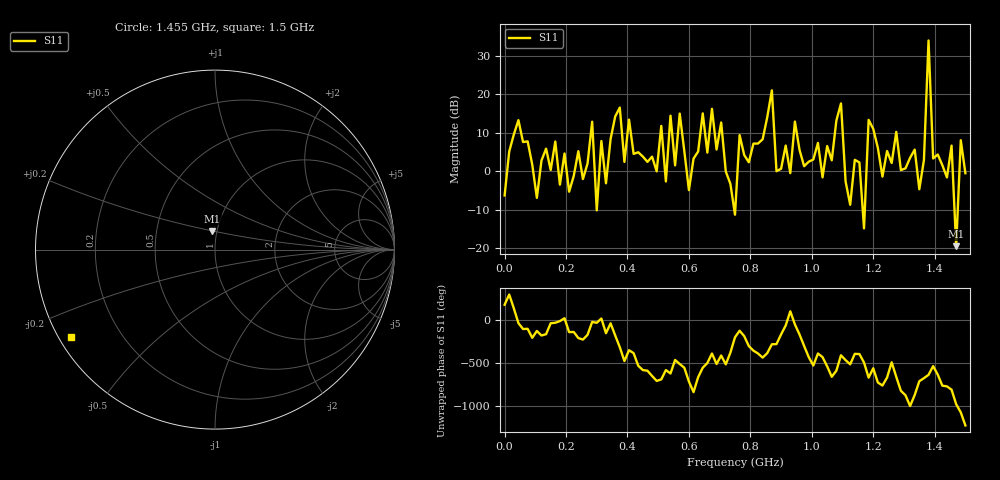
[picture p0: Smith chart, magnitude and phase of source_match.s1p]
! Created with skrf 1.8.0 (http://scikit-rf.org).
# Hz S RI R 50.0
!freq ReS11 ImS11
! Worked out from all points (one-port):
!   101 points, 50 kHz to 1.5 GHz, reference 50 ohm
!   lowest |S11| = -19.5 dB at 1.47 GHz (marker M1), VSWR 1.24, Z = 47.6 + j10 ohm
!   |S11| at or under -10 dB: 299.905 MHz to 300.2126 MHz (307.6 kHz wide, 0.103 % of centre); 747.5247 MHz to 750.9933 MHz (3.469 MHz wide, 0.463 % of centre); 1.166 GHz to 1.173 GHz (6.885 MHz wide, 0.589 % of centre) (the widest 3 of 4)
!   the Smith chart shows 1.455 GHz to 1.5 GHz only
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50000  -0.4797 0.0521
1.950435e8  1.626 0.4937
3.450385e8  1.942 -1.769
3.60038e8  -5.147 0.2921
3.750375e8  5.135 4.375
3.90037e8  -0.6782 -1.134
4.050365e8  4.675 0.4504
4.350355e8  -1.757 -0.1539
5.40032e8  -0.4333 5.268
5.70031e8  -5.094 -2.396
6.30029e8  1.107 1.423
6.450285e8  -5.387 1.749
6.750275e8  5.456 -3.534
6.90027e8  -1.729 -0.822
7.50025e8  -0.2476 0.1103
8.550215e8  4.437 -2.415
8.70021e8  3.053 10.89
8.850205e8  0.2343 0.9726
9.450185e8  2.543 -3.627
1.080014e9  -2.798 3.611
1.095014e9  4.584 -6.103
1.125012e9  -0.3392 -0.1348
1.320006e9  0.3352 1.456
1.365004e9  1.053 0.9059
1.380004e9  9.429 49.63
1.395004e9  -1.464 -0.0158
1.470001e9  -0.0142 0.1044
1.5e9  -0.8042 -0.4876
